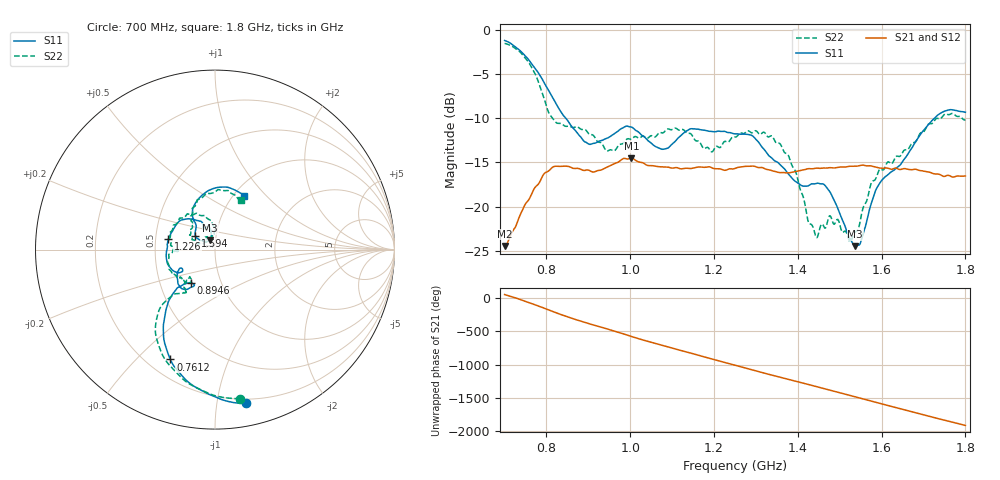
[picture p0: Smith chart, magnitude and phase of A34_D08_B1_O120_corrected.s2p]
! Created with skrf 1.9.0 (http://scikit-rf.org).
# Hz S RI R 50.0
!freq ReS11 ImS11 ReS21 ImS21 ReS12 ImS12 ReS22 ImS22
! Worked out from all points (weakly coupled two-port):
!   1601 points, 700 MHz to 1.8 GHz, reference 50 ohm
!   highest |S21| = -14.53 dB at 1.002 GHz (marker M1); lowest = -24.5 dB at 700 MHz (marker M2)
!   lowest |S11| = -24.5 dB at 1.537 GHz (marker M3), VSWR 1.13, Z = 47.1 + j4.99 ohm
!   |S11| at or under -10 dB: 846.3 MHz to 1.726 GHz (879.3 MHz wide, 68.4 % of centre)
!   |S22| runs from -24.0 to -1.5 dB; largest |S21 - S12| = 0.0037
!   S11 on the Smith chart (normalised r, x): 700 MHz: 0.17, -1.21; 761.2 MHz: 0.29, -0.63; 894.6 MHz: 0.72, -0.28; 1.226 GHz: 0.58, +0.08; 1.594 GHz: 0.79, +0.13; 1.8 GHz: 1.12, +0.76
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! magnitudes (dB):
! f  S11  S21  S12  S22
! 700 MHz  -1.2  -24.5  -24.3  -1.5
! 761.2 MHz  -3.6  -18.9  -18.8  -3.9
! 816.2 MHz  -7.8  -15.5  -15.6  -10.1
! 883.6 MHz  -12.2  -15.8  -15.7  -11.3
! 894.6 MHz  -12.7  -15.9  -16.0  -11.4
! 945.4 MHz  -12.2  -15.5  -15.5  -13.7
! 1.002 GHz  -11.0  -14.5  -14.6  -12.4
! 1.067 GHz  -13.3  -15.5  -15.4  -11.7
! 1.144 GHz  -11.2  -15.7  -15.7  -11.7
! 1.194 GHz  -11.5  -15.6  -15.5  -13.8
! 1.226 GHz  -11.5  -15.9  -15.8  -12.6
! 1.25 GHz  -11.8  -15.7  -15.6  -12.1
! 1.358 GHz  -15.3  -16.2  -16.1  -12.9
! 1.394 GHz  -17.2  -16.1  -16.0  -16.0
! 1.434 GHz  -17.4  -15.7  -15.7  -22.1
! 1.445 GHz  -17.4  -15.6  -15.7  -23.5
! 1.473 GHz  -18.1  -15.6  -15.6  -21.4
! 1.537 GHz  -24.5  -15.4  -15.4  -22.9
! 1.594 GHz  -17.4  -15.6  -15.6  -15.8
! 1.617 GHz  -16.3  -15.7  -15.7  -14.9
! 1.733 GHz  -9.7  -16.3  -16.4  -10.0
! 1.8 GHz  -9.3  -16.5  -16.5  -10.2
